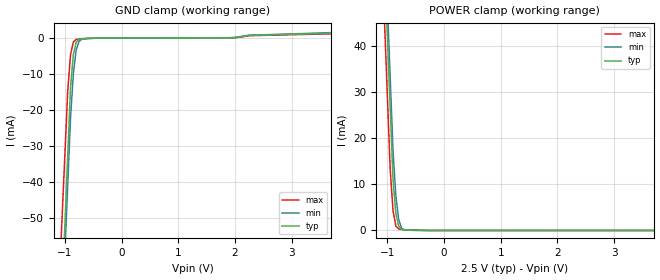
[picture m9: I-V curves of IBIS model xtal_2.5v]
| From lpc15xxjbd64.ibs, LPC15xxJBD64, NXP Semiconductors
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[Model] xtal_2.5v
Model_type Input
Vinl = 750.000mV
Vinh = 1.75000V
C_comp 1.24000pF 1.24000pF 1.24000pF
| variable typ   min   max
[Voltage Range] 2.50000V 2.25000V 2.75000V
[POWER Clamp Reference] 2.50000V 2.25000V 2.75000V
[GND Clamp Reference] 0.00000V 0.00000V 0.00000V
[Temperature Range]   25   85   -40
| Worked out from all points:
|   GND clamp passes 1 mA (typ) near -0.78 V on its own axis
|   POWER clamp passes 1 mA (typ) near -0.80 V on its own axis
[GND Clamp]
-2.5V     -627.1mA   -626.3mA   -562.6mA
-950mV    -33.09mA   -41.24mA   -14.93mA
-900mV    -13.92mA   -22.37mA   -4.663mA
-850mV    -4.63mA    -9.99mA    -1.142mA
-800mV    -1.259mA   -3.372mA   -456.2uA
-750mV    -460.7uA   -994.5uA   -340.5uA
-700mV    -271.1uA   -396.2uA   -224.8uA
-600mV    -206uA     -156.1uA   -165.8uA
1.9V      24.31uA    19.27uA    29.46uA
2.25V     668.3uA    729.5uA    595.9uA
5V        1.817mA    2.093mA    1.594mA
[POWER Clamp]
-2.5V     507mA      528.7mA    505.9mA
-1.05V    57.58mA    65.22mA    45.02mA
-950mV    26.59mA    33.25mA    13.23mA
-900mV    11.09mA    17.27mA    4.268mA
-850mV    3.645mA    7.526mA    964.6uA
-800mV    995.8uA    2.355mA    319.3uA
-750mV    248.2uA    526uA      231.3uA
-700mV    90.11uA    99.83uA    143.4uA
-500mV    38.62uA    11.09uA    83.02uA
5V        0A         0A         0A
